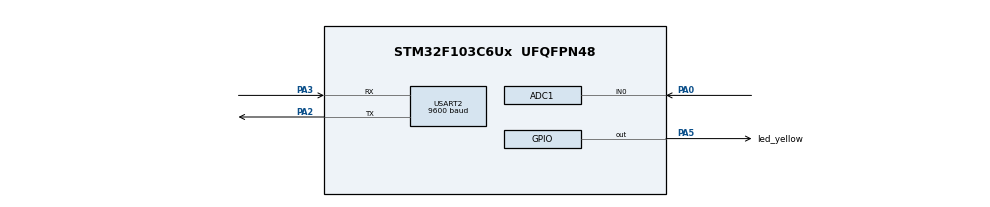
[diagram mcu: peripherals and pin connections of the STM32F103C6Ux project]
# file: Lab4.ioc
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ADC1.Channel-1\#ChannelRegularConversion=ADC_CHANNEL_0
ADC1.ContinuousConvMode=ENABLE
ADC1.NbrOfConversionFlag=1
ADC1.Rank-1\#ChannelRegularConversion=1
ADC1.SamplingTime-1\#ChannelRegularConversion=ADC_SAMPLETIME_1CYCLE_5
ADC1.master=1
Mcu.Family=STM32F1
Mcu.Name=STM32F103C6Ux
Mcu.Package=UFQFPN48
NVIC.PriorityGroup=NVIC_PRIORITYGROUP_4
NVIC.TIM2_IRQn=true\:0\:0\:false\:false\:true\:true\:true
NVIC.USART2_IRQn=true\:0\:0\:false\:false\:true\:true\:true
PA0-WKUP.Signal=ADCx_IN0
PA2.Mode=Asynchronous
PA2.Signal=USART2_TX
PA3.Mode=Asynchronous
PA3.Signal=USART2_RX
PA5.GPIO_Label=led_yellow
PA5.Signal=GPIO_Output
ProjectManager.HeapSize=0x200
ProjectManager.StackSize=0x400
ProjectManager.TargetToolchain=STM32CubeIDE
RCC.APB1Freq_Value=8000000
RCC.APB2Freq_Value=8000000
SH.ADCx_IN0.0=ADC1_IN0,IN0
TIM2.Period=9
TIM2.Prescaler=7999
USART2.BaudRate=9600
USART2.VirtualMode=VM_ASYNC
VP_SYS_VS_ND.Mode=No_Debug
VP_TIM2_VS_ClockSourceINT.Mode=Internal
board=custom

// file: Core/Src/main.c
/* USER CODE BEGIN Header */
/**
  ******************************************************************************
  * @file           : main.c
  * @brief          : Main program body
  ******************************************************************************
  * @attention
  *
  * <h2><center>&copy; Copyright (c) 2023 STMicroelectronics.
  * All rights reserved.</center></h2>
  *
  * This software component is licensed by ST under BSD 3-Clause license,
  * the "License"; You may not use this file except in compliance with the
  * License. You may obtain a copy of the License at:
  *                        opensource.org/licenses/BSD-3-Clause
  *
  ******************************************************************************
  */
/* USER CODE END Header */
#include "main.h"
#include "software_timer.h"
#include "string.h"
#include "stdio.h"

ADC_HandleTypeDef hadc1;

TIM_HandleTypeDef htim2;

UART_HandleTypeDef huart2;

void SystemClock_Config(void);
static void MX_GPIO_Init(void);
static void MX_ADC1_Init(void);
static void MX_USART2_UART_Init(void);
static void MX_TIM2_Init(void);

/* USER CODE BEGIN 0 */
#define MAX_BUFFER_SIZE  30
#define INIT 11
#define RCV 12
#define WAIT_RES 114
#define EXC_RES 115
#define STOP_RES 116
uint8_t temp = 0;
uint8_t buffer[MAX_BUFFER_SIZE];
uint8_t command_line[MAX_BUFFER_SIZE];
uint8_t index_buffer = 0;
uint8_t buffer_flag = 0;

int cmd_status = INIT;
int cmn_status = WAIT_RES;

void HAL_UART_RxCpltCallback(UART_HandleTypeDef *huart){
	if(huart->Instance == USART2){

		buffer[index_buffer++] = temp;
		if(index_buffer == 30) index_buffer = 0;

		buffer_flag = 1;
		HAL_UART_Transmit(&huart2, &temp, 1, 1000);
		HAL_UART_Receive_IT(&huart2, &temp, 1);
	}
}

/* USER CODE END 0 */

void clear_buffer(){
	memset(buffer, 0, MAX_BUFFER_SIZE);
	index_buffer = 0;
}

void command_parser_fsm(){
	switch (cmd_status){
	case INIT:
		if (temp == '!'){
			cmd_status = RCV;
		}
		clear_buffer();
		break;
	case RCV:
		if (temp == '#'){
			cmd_status = INIT;
			memcpy(command_line, buffer, MAX_BUFFER_SIZE);
			char str[3];
			HAL_UART_Transmit(&huart2, (void*) str, sprintf(str, "\r\n"), 1000);
		}
		break;
	default:
		break;
	}
}

void uart_communication_fsm(){
	switch(cmn_status){
	case WAIT_RES:
		if (strcmp((char *)command_line,"RST#") == 0){
			cmn_status = EXC_RES;
		}
		break;
	case EXC_RES:
		setTimer(300, 1);
		uint32_t ADC_value = 0;
		HAL_ADC_Start(&hadc1);
		ADC_value =  HAL_ADC_GetValue(&hadc1);
		char str[MAX_BUFFER_SIZE];
		HAL_UART_Transmit(&huart2, (void *)str, sprintf(str, "!ADC=%d# \r", ADC_value), 1000);
		cmn_status = STOP_RES;
		break;
	case STOP_RES:
		if (strcmp((char *)command_line, "OK#") == 0) {
			cmn_status = WAIT_RES;
			memset(command_line, 0, MAX_BUFFER_SIZE);
		}
		if (timer_flag[1] == 1){
			cmn_status = EXC_RES;
		}
		break;
	default:
		break;
	}
}

int main(void)
{

  /* MCU Configuration--------------------------------------------------------*/

  /* Reset of all peripherals, Initializes the Flash interface and the Systick. */
  HAL_Init();

  /* Configure the system clock */
  SystemClock_Config();

  /* Initialize all configured peripherals */
  MX_GPIO_Init();
  MX_ADC1_Init();
  MX_USART2_UART_Init();
  MX_TIM2_Init();
  /* USER CODE BEGIN 2 */
HAL_TIM_Base_Start_IT(&htim2);
  /* USER CODE END 2 */

  /* Infinite loop */
  /* USER CODE BEGIN WHILE */
	HAL_UART_Receive_IT(&huart2, &temp, 1);
	setTimer(100,0);
  while (1)
  {
    /* USER CODE END WHILE */
		  if(buffer_flag == 1){
			  command_parser_fsm();
			  buffer_flag = 0;
		  }
		  uart_communication_fsm();
	  if (timer_flag[3] == 1){
		  HAL_GPIO_TogglePin(led_yellow_GPIO_Port, led_yellow_Pin);
		  setTimer(100,0);
	  }
  }
}

void SystemClock_Config(void)
{
  RCC_OscInitTypeDef RCC_OscInitStruct = {0};
  RCC_ClkInitTypeDef RCC_ClkInitStruct = {0};
  RCC_PeriphCLKInitTypeDef PeriphClkInit = {0};

  /** Initializes the RCC Oscillators according to the specified parameters
  * in the RCC_OscInitTypeDef structure.
  */
  RCC_OscInitStruct.OscillatorType = RCC_OSCILLATORTYPE_HSI;
  RCC_OscInitStruct.HSIState = RCC_HSI_ON;
  RCC_OscInitStruct.HSICalibrationValue = RCC_HSICALIBRATION_DEFAULT;
  RCC_OscInitStruct.PLL.PLLState = RCC_PLL_NONE;
  if (HAL_RCC_OscConfig(&RCC_OscInitStruct) != HAL_OK)
  {
    Error_Handler();
  }
  /** Initializes the CPU, AHB and APB buses clocks
  */
  RCC_ClkInitStruct.ClockType = RCC_CLOCKTYPE_HCLK|RCC_CLOCKTYPE_SYSCLK
                              |RCC_CLOCKTYPE_PCLK1|RCC_CLOCKTYPE_PCLK2;
  RCC_ClkInitStruct.SYSCLKSource = RCC_SYSCLKSOURCE_HSI;
  RCC_ClkInitStruct.AHBCLKDivider = RCC_SYSCLK_DIV1;
  RCC_ClkInitStruct.APB1CLKDivider = RCC_HCLK_DIV1;
  RCC_ClkInitStruct.APB2CLKDivider = RCC_HCLK_DIV1;

  if (HAL_RCC_ClockConfig(&RCC_ClkInitStruct, FLASH_LATENCY_0) != HAL_OK)
  {
    Error_Handler();
  }
  PeriphClkInit.PeriphClockSelection = RCC_PERIPHCLK_ADC;
  PeriphClkInit.AdcClockSelection = RCC_ADCPCLK2_DIV2;
  if (HAL_RCCEx_PeriphCLKConfig(&PeriphClkInit) != HAL_OK)
  {
    Error_Handler();
  }
}

static void MX_ADC1_Init(void)
{

  ADC_ChannelConfTypeDef sConfig = {0};

  /** Common config
  */
  hadc1.Instance = ADC1;
  hadc1.Init.ScanConvMode = ADC_SCAN_DISABLE;
  hadc1.Init.ContinuousConvMode = ENABLE;
  hadc1.Init.DiscontinuousConvMode = DISABLE;
  hadc1.Init.ExternalTrigConv = ADC_SOFTWARE_START;
  hadc1.Init.DataAlign = ADC_DATAALIGN_RIGHT;
  hadc1.Init.NbrOfConversion = 1;
  if (HAL_ADC_Init(&hadc1) != HAL_OK)
  {
    Error_Handler();
  }
  /** Configure Regular Channel
  */
  sConfig.Channel = ADC_CHANNEL_0;
  sConfig.Rank = ADC_REGULAR_RANK_1;
  sConfig.SamplingTime = ADC_SAMPLETIME_1CYCLE_5;
  if (HAL_ADC_ConfigChannel(&hadc1, &sConfig) != HAL_OK)
  {
    Error_Handler();
  }

}

static void MX_TIM2_Init(void)
{

  TIM_ClockConfigTypeDef sClockSourceConfig = {0};
  TIM_MasterConfigTypeDef sMasterConfig = {0};

  htim2.Instance = TIM2;
  htim2.Init.Prescaler = 7999;
  htim2.Init.CounterMode = TIM_COUNTERMODE_UP;
  htim2.Init.Period = 9;
  htim2.Init.ClockDivision = TIM_CLOCKDIVISION_DIV1;
  htim2.Init.AutoReloadPreload = TIM_AUTORELOAD_PRELOAD_DISABLE;
  if (HAL_TIM_Base_Init(&htim2) != HAL_OK)
  {
    Error_Handler();
  }
  sClockSourceConfig.ClockSource = TIM_CLOCKSOURCE_INTERNAL;
  if (HAL_TIM_ConfigClockSource(&htim2, &sClockSourceConfig) != HAL_OK)
  {
    Error_Handler();
  }
  sMasterConfig.MasterOutputTrigger = TIM_TRGO_RESET;
  sMasterConfig.MasterSlaveMode = TIM_MASTERSLAVEMODE_DISABLE;
  if (HAL_TIMEx_MasterConfigSynchronization(&htim2, &sMasterConfig) != HAL_OK)
  {
    Error_Handler();
  }

}

static void MX_USART2_UART_Init(void)
{

  huart2.Instance = USART2;
  huart2.Init.BaudRate = 9600;
  huart2.Init.WordLength = UART_WORDLENGTH_8B;
  huart2.Init.StopBits = UART_STOPBITS_1;
  huart2.Init.Parity = UART_PARITY_NONE;
  huart2.Init.Mode = UART_MODE_TX_RX;
  huart2.Init.HwFlowCtl = UART_HWCONTROL_NONE;
  huart2.Init.OverSampling = UART_OVERSAMPLING_16;
  if (HAL_UART_Init(&huart2) != HAL_OK)
  {
    Error_Handler();
  }

}

static void MX_GPIO_Init(void)
{
  GPIO_InitTypeDef GPIO_InitStruct = {0};

  /* GPIO Ports Clock Enable */
  __HAL_RCC_GPIOA_CLK_ENABLE();

  /*Configure GPIO pin Output Level */
  HAL_GPIO_WritePin(led_yellow_GPIO_Port, led_yellow_Pin, GPIO_PIN_RESET);

  /*Configure GPIO pin : led_yellow_Pin */
  GPIO_InitStruct.Pin = led_yellow_Pin;
  GPIO_InitStruct.Mode = GPIO_MODE_OUTPUT_PP;
  GPIO_InitStruct.Pull = GPIO_NOPULL;
  GPIO_InitStruct.Speed = GPIO_SPEED_FREQ_LOW;
  HAL_GPIO_Init(led_yellow_GPIO_Port, &GPIO_InitStruct);

}

/* USER CODE BEGIN 4 */
void HAL_TIM_PeriodElapsedCallback(TIM_HandleTypeDef *htim){
	timerRun();
}
/* USER CODE END 4 */

void Error_Handler(void)
{
  __disable_irq();
  while (1)
  {
  }
}

/************************ (C) COPYRIGHT STMicroelectronics *****END OF FILE****/
